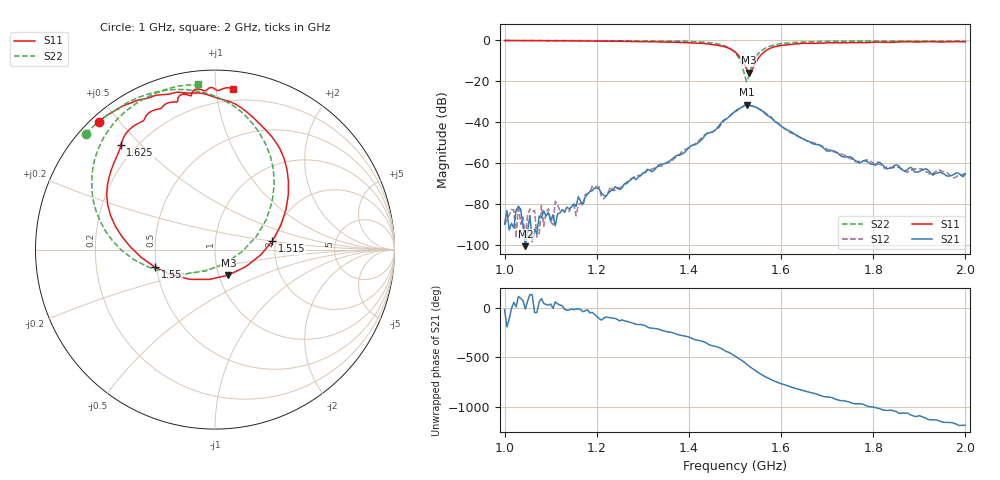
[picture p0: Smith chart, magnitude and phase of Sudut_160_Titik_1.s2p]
# Hz S RI R 50
! CMT, C1220, 16058040, 17.2.0/1
! Date: 14/08/2018 12:56:14
! Data: Format (Calibration Info)
! Freq  S11: Re/Im (F2)  S21: Re/Im (F2)  S12: Re/Im (F2)  S22: Re/Im (F2)
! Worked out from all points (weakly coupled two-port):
!   201 points, 1 GHz to 2 GHz, reference 50 ohm
!   highest |S21| = -31.48 dB at 1.525 GHz (marker M1); lowest = -100.4 dB at 1.045 GHz (marker M2)
!   lowest |S11| = -15.9 dB at 1.53 GHz (marker M3), VSWR 1.38, Z = 55.6 - j16.2 ohm
!   |S11| at or under -10 dB: 1.515 GHz to 1.548 GHz (32.3 MHz wide, 2.11 % of centre)
!   |S22| runs from -20.4 to -0.3 dB; largest |S21 - S12| = 0.0011
!   S11 on the Smith chart (normalised r, x): 1 GHz: 0.02, +0.44; 1.515 GHz: 1.93, +0.21; 1.55 GHz: 0.49, -0.11; 1.625 GHz: 0.15, +0.44; 2 GHz: 0.12, +1.11
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1e9  -0.6467 0.7134  3.12e-05 -1.04e-05  1.91e-05 2.56e-05  -0.719 0.6459
1.045e9  -0.6047 0.7464  9.33e-06 -2.13e-06  -1.13e-05 -9.73e-06  -0.6862 0.6781
1.155e9  -0.4743 0.8145  8.57e-05 -2.23e-05  4.22e-05 -3.11e-05  -0.5924 0.7555
1.16e9  -0.4687 0.8164  0.00015 -2.96e-05  8.68e-05 -4.11e-05  -0.5874 0.7591
1.17e9  -0.4563 0.8219  7.71e-05 -6.55e-05  6.91e-05 -6.13e-05  -0.5767 0.7657
1.19e9  -0.4257 0.8333  0.00015 -0.00015  0.000152 -0.000226  -0.5534 0.7766
1.205e9  -0.4045 0.8373  -7.34e-05 -0.000226  -9.43e-05 -0.000245  -0.5404 0.7784
1.215e9  -0.3904 0.8401  -4.15e-05 -0.00016  -5.67e-05 -0.000123  -0.5351 0.7858
1.23e9  -0.3652 0.8469  -4.48e-05 -0.000205  -5.15e-05 -0.00026  -0.5196 0.8001
1.335e9  -0.1776 0.8742  -0.000726 0.000536  -0.000612 0.000611  -0.3598 0.8699
1.45e9  0.2023 0.7453  0.00527 -0.00204  0.00523 -0.00236  0.0467 0.8335
1.5e9  0.4086 0.3053  -0.0107 -0.0147  -0.01 -0.0138  0.3301 0.3609
1.515e9  0.3199 0.0477  -0.0226 -0.00348  -0.0228 -0.0041  0.2298 0.0724
1.525e9  0.1707 -0.0956  -0.0239 0.0118  -0.0241 0.0118  0.0588 -0.0757
1.53e9  0.0748 -0.1417  -0.0178 0.0187  -0.018 0.0188  -0.05 -0.1184
1.55e9  -0.334 -0.0983  0.00759 0.0199  0.00684 0.0202  -0.4493 -0.0574
1.58e9  -0.5976 0.2483  0.0121 -0.00149  0.0124 -0.00207  -0.6764 0.2649
1.625e9  -0.5246 0.5806  0.000708 -0.00546  0.000837 -0.00518  -0.6496 0.5619
1.67e9  -0.4078 0.7127  -0.00225 -0.00186  -0.00239 -0.00197  -0.5665 0.7013
1.835e9  -0.1343 0.8561  0.000506 0.00056  0.000606 0.000505  -0.315 0.8779
1.975e9  0.0626 0.901  6.98e-05 -0.000527  2.57e-05 -0.000439  -0.1246 0.9155
2e9  0.0995 0.8928  -0.000135 -0.000533  -0.000155 -0.0006  -0.0973 0.9224
